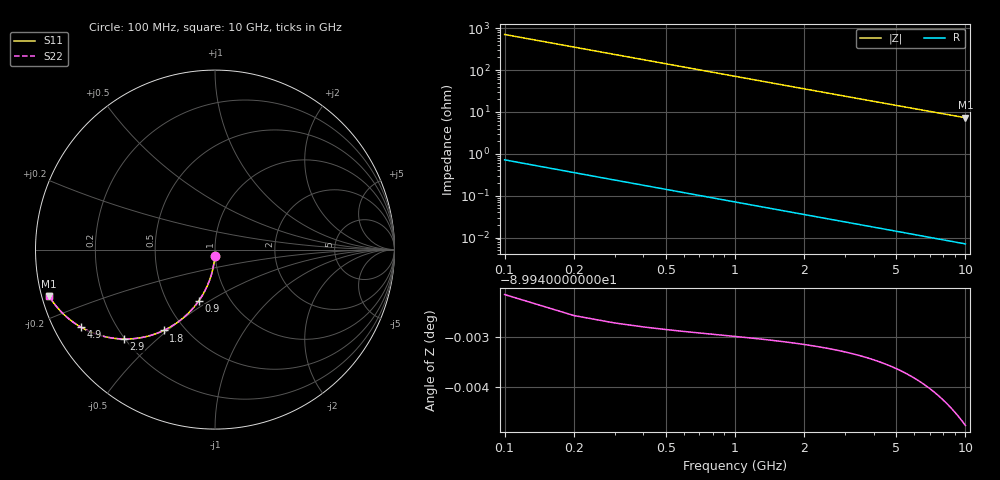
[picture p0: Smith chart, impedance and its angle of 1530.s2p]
# Hz S RI R 50.00
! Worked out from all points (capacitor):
!   100 points, 100 MHz to 10 GHz, reference 50 ohm
!   read as one part in shunt: C = 2.24 pF near 100 MHz
!   lowest |Z| = 7.29 ohm at 10 GHz (marker M1)
!   S11 on the Smith chart (normalised r, x): 100 MHz: 1.00, -0.07; 900 MHz: 0.71, -0.45; 1.8 GHz: 0.39, -0.49; 2.9 GHz: 0.20, -0.39; 4.9 GHz: 0.08, -0.27; 10 GHz: 0.02, -0.14
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1e8  -0.00127 -0.0351  0.9987 -0.0352  0.9987 -0.0352  -0.00127 -0.0351
2e8  -0.005 -0.07  0.995 -0.0702  0.995 -0.0702  -0.005 -0.07
3e8  -0.0111 -0.1043  0.9889 -0.1046  0.9889 -0.1046  -0.0111 -0.1043
4e8  -0.0196 -0.1379  0.9804 -0.1382  0.9804 -0.1382  -0.0196 -0.1379
5e8  -0.0302 -0.1705  0.9698 -0.1709  0.9698 -0.1709  -0.0302 -0.1705
6e8  -0.0429 -0.2018  0.9571 -0.2024  0.9571 -0.2024  -0.0429 -0.2018
7e8  -0.0574 -0.2319  0.9426 -0.2325  0.9426 -0.2325  -0.0574 -0.2319
9e8  -0.0914 -0.2872  0.9086 -0.288  0.9086 -0.288  -0.0914 -0.2872
1.1e9  -0.1304 -0.3358  0.8696 -0.3368  0.8696 -0.3368  -0.1304 -0.3358
1.3e9  -0.173 -0.3772  0.8269 -0.3783  0.8269 -0.3783  -0.173 -0.3772
1.5e9  -0.2177 -0.4116  0.7823 -0.4128  0.7823 -0.4128  -0.2177 -0.4116
1.8e9  -0.2858 -0.4505  0.7142 -0.452  0.7142 -0.452  -0.2858 -0.4505
2.3e9  -0.3945 -0.4873  0.6055 -0.4892  0.6055 -0.4892  -0.3945 -0.4873
2.9e9  -0.5081 -0.4982  0.4919 -0.5007  0.4919 -0.5007  -0.5081 -0.4982
3.4e9  -0.5862 -0.4905  0.4137 -0.4935  0.4137 -0.4935  -0.5862 -0.4905
4.1e9  -0.6726 -0.467  0.3273 -0.4705  0.3273 -0.4705  -0.6726 -0.467
4.9e9  -0.7453 -0.433  0.2546 -0.4373  0.2546 -0.4373  -0.7453 -0.433
5.1e9  -0.7601 -0.4243  0.2398 -0.4287  0.2398 -0.4287  -0.7601 -0.4243
5.9e9  -0.8089 -0.3901  0.1911 -0.3952  0.1911 -0.3952  -0.8089 -0.3901
6.7e9  -0.8449 -0.3585  0.155 -0.3644  0.155 -0.3644  -0.8449 -0.3585
8.4e9  -0.8952 -0.3021  0.1047 -0.3094  0.1047 -0.3094  -0.8952 -0.3021
1e10  -0.9236 -0.2606  0.0763 -0.2694  0.0763 -0.2694  -0.9236 -0.2606
